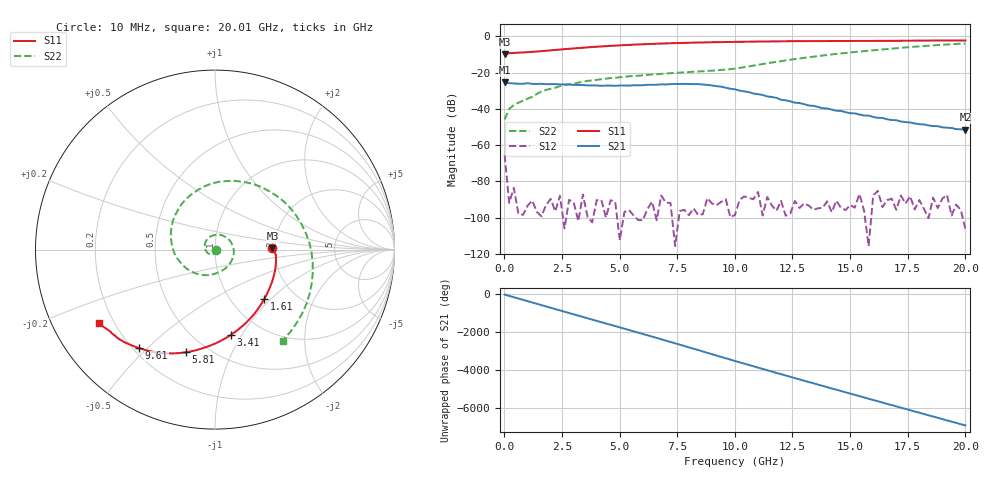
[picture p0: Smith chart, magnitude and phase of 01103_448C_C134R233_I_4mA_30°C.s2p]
!;Filter: kein Filter
!auto
!3/21/2019 9:25:24 AM
!3/21/2019 9:25:40 AM
!SP-Measurements Prober G4
!SP-Measurements Prober G4
!01103_448C
!134
!233
!12
!30
!-20
!0.00399976
!1.88
!0.54220246
!0.54220246
# Hz S  RI  R 50
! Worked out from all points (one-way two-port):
!   101 points, 10 MHz to 20.01 GHz, reference 50 ohm
!   highest |S21| = -25.40 dB at 10 MHz (marker M1); lowest = -51.6 dB at 20.01 GHz (marker M2)
!   lowest |S11| = -9.9 dB at 10 MHz (marker M3), VSWR 1.94, Z = 97.1 + j1.44 ohm
!   |S11| at or under -10 dB: nowhere
!   |S22| runs from -45.9 to -4.0 dB; largest |S21 - S12| = 0.054
!   S11 on the Smith chart (normalised r, x): 10 MHz: 1.94, +0.03; 1.61 GHz: 1.41, -0.92; 3.41 GHz: 0.73, -0.90; 5.81 GHz: 0.39, -0.68; 9.61 GHz: 0.22, -0.47; 20.01 GHz: 0.15, -0.28
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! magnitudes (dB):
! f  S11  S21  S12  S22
! 10 MHz  -9.9  -25.4  -65.5  -45.9
! 210 MHz  -9.4  -25.8  -91.8  -40.0
! 410 MHz  -9.2  -26.0  -83.6  -37.9
! 1.21 GHz  -8.6  -26.3  -90.6  -33.4
! 1.61 GHz  -8.2  -26.2  -99.2  -30.4
! 2.61 GHz  -7.1  -26.6  -105.9  -26.9
! 3.41 GHz  -6.3  -26.9  -87.2  -25.0
! 4.21 GHz  -5.6  -27.3  -90.3  -23.7
! 5.81 GHz  -4.5  -27.0  -101.3  -21.8
! 6.81 GHz  -4.0  -26.5  -87.8  -20.8
! 8.41 GHz  -3.5  -26.4  -98.5  -19.4
! 9.61 GHz  -3.2  -28.4  -89.9  -18.4
! 10.01 GHz  -3.1  -29.3  -98.5  -17.8
! 11.81 GHz  -2.8  -33.9  -96.2  -14.1
! 12.01 GHz  -2.8  -35.0  -90.8  -13.8
! 13.41 GHz  -2.7  -38.3  -95.6  -11.3
! 14.41 GHz  -2.6  -41.1  -90.6  -9.7
! 14.61 GHz  -2.6  -41.2  -94.6  -9.5
! 15.01 GHz  -2.6  -42.4  -93.0  -8.9
! 15.81 GHz  -2.6  -43.7  -115.7  -8.0
! 16.81 GHz  -2.5  -46.2  -89.5  -6.8
! 20.01 GHz  -2.4  -51.6  -106.1  -4.0
